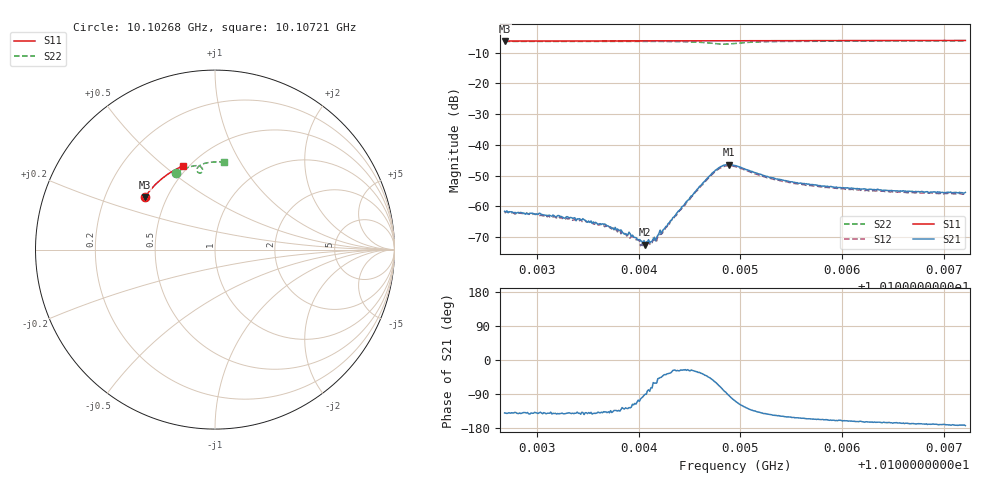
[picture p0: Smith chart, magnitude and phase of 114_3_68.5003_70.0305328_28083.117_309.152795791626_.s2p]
#  HZ  S  RI  R  50.00
! Rohde & Schwarz Vector Network Analyzer
! Rohde-Schwarz,ZNB20-2Port,1311601062101988,3.16
! Created: UTC 3/20/2024, 4:53:42 PM
! freq[Hz]  re:S11  im:S11  re:S21  im:S21  re:S12  im:S12  re:S22  im:S22
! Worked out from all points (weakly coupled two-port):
!   401 points, 10.10268 GHz to 10.10721 GHz, reference 50 ohm
!   highest |S21| = -46.43 dB at 10.10489 GHz (marker M1); lowest = -72.5 dB at 10.10406 GHz (marker M2)
!   lowest |S11| = -6.2 dB at 10.10268 GHz (marker M3), VSWR 2.90, Z = 18.9 + j14.6 ohm
!   |S11| at or under -10 dB: nowhere
!   |S22| runs from -7.2 to -6.2 dB; largest |S21 - S12| = 0.00048
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1.0102682e10  -0.389 0.2937  -0.000629 -0.000534  -0.000539 -0.000562  -0.2169 0.4281
1.0102988e10  -0.3781 0.3089  -0.000554 -0.000482  -0.000538 -0.000526  -0.1989 0.4376
1.0103441e10  -0.3612 0.3307  -0.000444 -0.000399  -0.000412 -0.000392  -0.171 0.4502
1.0103667e10  -0.3521 0.3412  -0.000375 -0.00035  -0.000307 -0.000347  -0.1563 0.456
1.0103747e10  -0.3489 0.3447  -0.00032 -0.000305  -0.000281 -0.00034  -0.151 0.4578
1.0103815e10  -0.3461 0.3478  -0.000284 -0.000284  -0.000228 -0.000341  -0.1463 0.4595
1.0103871e10  -0.3438 0.3503  -0.00021 -0.000287  -0.00019 -0.0003  -0.1424 0.4604
1.0103928e10  -0.3414 0.3528  -0.000184 -0.000269  -0.00013 -0.000294  -0.1384 0.4618
1.0103985e10  -0.3391 0.3553  -0.000106 -0.000273  -7.58e-05 -0.000273  -0.1342 0.4629
1.0104019e10  -0.3375 0.3567  -6.12e-05 -0.000266  -3.5e-05 -0.000225  -0.1318 0.4635
1.0104064e10  -0.3357 0.3588  -1.58e-06 -0.000238  -3.97e-06 -0.000251  -0.1283 0.4645
1.0104143e10  -0.3323 0.3621  0.000149 -0.000253  0.000143 -0.000245  -0.1219 0.4656
1.01042e10  -0.3298 0.3649  0.00024 -0.00027  0.000235 -0.000253  -0.1175 0.4664
1.0104336e10  -0.3239 0.3704  0.000576 -0.000302  0.000554 -0.000271  -0.1055 0.4675
1.0104698e10  -0.3075 0.3851  0.00215 -0.00227  0.00225 -0.002  -0.0694 0.4475
1.0104812e10  -0.3024 0.3893  0.00128 -0.00425  0.00159 -0.00395  -0.0761 0.4288
1.0104891e10  -0.2988 0.3924  -0.000383 -0.00476  3.31e-05 -0.00458  -0.0912 0.4281
1.0104948e10  -0.2963 0.3946  -0.00139 -0.00438  -0.00101 -0.00432  -0.0985 0.4351
1.0105276e10  -0.2807 0.4071  -0.00239 -0.00181  -0.00217 -0.00194  -0.0835 0.4697
1.0105707e10  -0.2593 0.4223  -0.00207 -0.000921  -0.00187 -0.00104  -0.0502 0.4822
1.0106466e10  -0.2201 0.4459  -0.00174 -0.000477  -0.00161 -0.000588  0.00217 0.4886
1.0107214e10  -0.1793 0.4657  -0.00167 -0.000206  -0.00153 -0.000329  0.0515 0.4881
